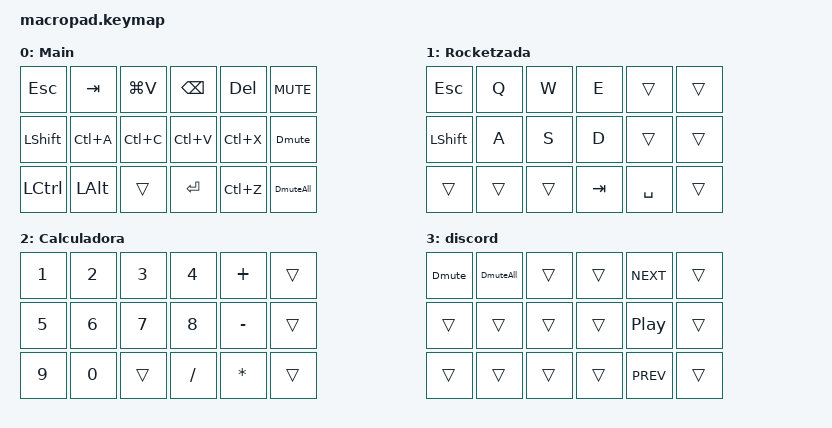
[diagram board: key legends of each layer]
#include <behaviors.dtsi>
#include <dt-bindings/zmk/keys.h>

/ {
    combos {
        compatible = "zmk,combos";

        to1 {
            bindings = <&to 0>;
            key-positions = <15 0>;
            require-prior-idle-ms = <0>;
            timeout-ms = <50>;
        };

        toRocket {
            bindings = <&to 1>;
            key-positions = <15 1>;
            timeout-ms = <50>;
        };

        toCalc {
            bindings = <&to 2>;
            key-positions = <15 2>;
            timeout-ms = <50>;
        };

        print {
            bindings = <&to 3>;
            key-positions = <3 15>;
            timeout-ms = <50>;
        };
    };

    macros {
        Dmute: Dmute {
            compatible = "zmk,behavior-macro";
            #binding-cells = <0>;
            bindings = <&kp RS(F14)>, <&macro_press>;

            label = "DMUTE";
        };

        DmuteAll: DmuteAll {
            compatible = "zmk,behavior-macro";
            #binding-cells = <0>;
            bindings = <&kp RC(F14)>, <&macro_press>;

            label = "DMUTEALL";
        };
    };

    keymap {
        compatible = "zmk,keymap";

        Main {
            bindings = <
&kp ESCAPE      &kp TAB       &kp LG(V)  &kp BACKSPACE  &kp DEL    &kp C_MUTE
&kp LEFT_SHIFT  &kp LC(A)     &kp LC(C)  &kp LC(V)      &kp LC(X)  &Dmute
&kp LCTRL       &kp LEFT_ALT  &trans     &kp ENTER      &kp LC(Z)  &DmuteAll
            >;
        };

        Rocketzada {
            bindings = <
&kp ESCAPE      &kp Q   &kp W   &kp E    &trans     &trans
&kp LEFT_SHIFT  &kp A   &kp S   &kp D    &trans     &trans
&trans          &trans  &trans  &kp TAB  &kp SPACE  &trans
            >;
        };

        Calculadora {
            bindings = <
&kp NUMBER_1  &kp NUMBER_2  &kp NUMBER_3  &kp NUMBER_4  &kp PLUS      &trans
&kp N5        &kp NUMBER_6  &kp N7        &kp N8        &kp MINUS     &trans
&kp N9        &kp N0        &trans        &kp SLASH     &kp ASTERISK  &trans
            >;
        };

        discord {
            bindings = <
&Dmute  &DmuteAll  &trans  &trans  &kp C_NEXT        &trans
&trans  &trans     &trans  &trans  &kp C_PLAY_PAUSE  &trans
&trans  &trans     &trans  &trans  &kp C_PREV        &trans
            >;
        };
    };
};
